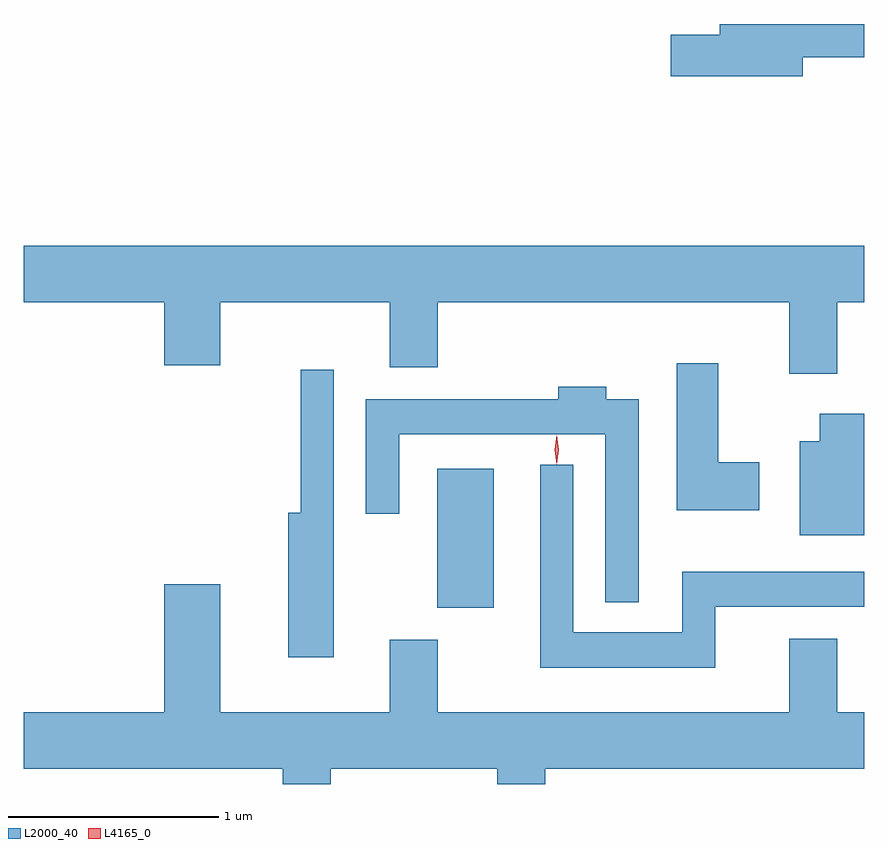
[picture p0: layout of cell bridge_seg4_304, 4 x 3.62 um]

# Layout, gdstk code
import gdstk
lib = gdstk.Library(unit=1e-6, precision=1e-09)
def R(c, l, rs):  # rectangles x0, y0, x1, y1
    for r in rs: c.add(gdstk.rectangle(r[:2], r[2:], *l))
def P(c, l, *ps):  # polygons
    for p in ps: c.add(gdstk.Polygon(p, *l))
L2000_40 = (2000, 40)
L4165_0 = (4165, 0)

bridge_seg4_304 = lib.new_cell('bridge_seg4_304')
R(bridge_seg4_304, L2000_40, [(516.076,1315.481,516.344,1316.144)])
P(bridge_seg4_304, L2000_40, [(517.814,1318.101),(518.108,1318.101),(518.108,1318.259),(517.421,1318.259),(517.421,1318.209),(517.186,1318.209),(517.186,1318.011),(517.814,1318.011)],
  [(517.979,1316.936),(518.108,1316.936),(518.108,1317.204),(514.108,1317.204),(514.108,1316.936),(514.776,1316.936),(514.776,1316.636),(515.044,1316.636),(515.044,1316.936),(515.851,1316.936),(515.851,1316.626),(516.079,1316.626),(516.079,1316.936),(517.751,1316.936),(517.751,1316.596),(517.979,1316.596)],
  [(517.609,1316.174),(517.414,1316.174),(517.414,1316.644),(517.216,1316.644),(517.216,1315.946),(517.609,1315.946)],
  [(515.584,1316.613),(515.426,1316.613),(515.426,1315.934),(515.366,1315.934),(515.366,1315.246),(515.584,1315.246)],
  [(517.034,1316.474),(516.879,1316.474),(516.879,1316.534),(516.651,1316.534),(516.651,1316.474),(515.736,1316.474),(515.736,1315.928),(515.894,1315.928),(515.894,1316.306),(516.876,1316.306),(516.876,1315.508),(517.034,1315.508)],
  [(518.108,1316.404),(517.896,1316.404),(517.896,1316.274),(517.801,1316.274),(517.801,1315.826),(518.108,1315.826)],
  [(517.399,1315.486),(518.108,1315.486),(518.108,1315.654),(517.241,1315.654),(517.241,1315.364),(516.724,1315.364),(516.724,1316.163),(516.566,1316.163),(516.566,1315.196),(517.399,1315.196)],
  [(514.776,1315.594),(514.776,1314.984),(514.108,1314.984),(514.108,1314.716),(515.341,1314.716),(515.341,1314.643),(515.569,1314.643),(515.569,1314.716),(516.361,1314.716),(516.361,1314.643),(516.589,1314.643),(516.589,1314.716),(518.108,1314.716),(518.108,1314.984),(517.979,1314.984),(517.979,1315.334),(517.751,1315.334),(517.751,1314.984),(516.079,1314.984),(516.079,1315.329),(515.851,1315.329),(515.851,1314.984),(515.044,1314.984),(515.044,1315.594)])
P(bridge_seg4_304, L4165_0, [(516.644,1316.167),(516.635,1316.234),(516.644,1316.3),(516.645,1316.3),(516.645,1316.3),(516.655,1316.234),(516.645,1316.167),(516.645,1316.167)],
  [(516.644,1316.164),(516.644,1316.164),(516.634,1316.234),(516.644,1316.302),(516.644,1316.303),(516.645,1316.302),(516.654,1316.234),(516.645,1316.164)])

lib.write_gds('bridge_seg4_304.gds')
